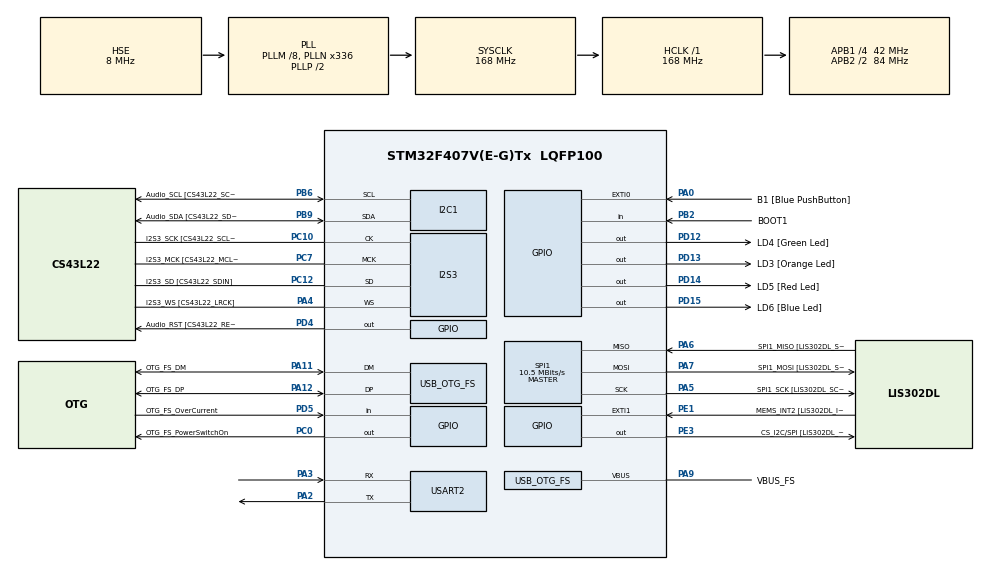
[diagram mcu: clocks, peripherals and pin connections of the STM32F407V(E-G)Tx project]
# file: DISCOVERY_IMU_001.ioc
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I2S3.AudioFreq-Half_Duplex_Master=I2S_AUDIOFREQ_96K
I2S3.ErrorAudioFreq=-2.34 %
I2S3.ErrorAudioFreq-Half_Duplex_Master=0.8 %
I2S3.FullDuplexMode=I2S_FULLDUPLEXMODE_DISABLE
I2S3.Instance=SPI$Index
I2S3.RealAudioFreq=93.75 KHz
I2S3.RealAudioFreq-Half_Duplex_Master=96.774 KHz
I2S3.VirtualMode=I2S_MODE_MASTER
Mcu.Family=STM32F4
Mcu.Name=STM32F407V(E-G)Tx
Mcu.Package=LQFP100
NVIC.OTG_FS_IRQn=true\:0\:0\:false\:false\:true\:true\:true\:true
NVIC.PriorityGroup=NVIC_PRIORITYGROUP_0
PA0-WKUP.GPIO_Label=B1 [Blue PushButton]
PA0-WKUP.GPIO_ModeDefaultEXTI=GPIO_MODE_EVT_RISING
PA0-WKUP.GPIO_PuPd=GPIO_NOPULL
PA0-WKUP.Signal=GPXTI0
PA10.GPIO_Label=OTG_FS_ID
PA10.GPIO_Mode=GPIO_MODE_AF_PP
PA10.GPIO_PuPd=GPIO_NOPULL
PA10.GPIO_Speed=GPIO_SPEED_FREQ_LOW
PA10.Signal=USB_OTG_FS_ID
PA11.GPIO_Label=OTG_FS_DM
PA11.GPIO_Mode=GPIO_MODE_AF_PP
PA11.GPIO_PuPd=GPIO_NOPULL
PA11.GPIO_Speed=GPIO_SPEED_FREQ_LOW
PA11.Mode=Device_Only
PA11.Signal=USB_OTG_FS_DM
PA12.GPIO_Label=OTG_FS_DP
PA12.GPIO_Mode=GPIO_MODE_AF_PP
PA12.GPIO_PuPd=GPIO_NOPULL
PA12.GPIO_Speed=GPIO_SPEED_FREQ_LOW
PA12.Mode=Device_Only
PA12.Signal=USB_OTG_FS_DP
PA13.GPIO_Label=SWDIO
PA13.Mode=Serial_Wire
PA13.Signal=SYS_JTMS-SWDIO
PA14.GPIO_Label=SWCLK
PA14.Mode=Serial_Wire
PA14.Signal=SYS_JTCK-SWCLK
PA2.Mode=Asynchronous
PA2.Signal=USART2_TX
PA3.Mode=Asynchronous
PA3.Signal=USART2_RX
PA4.GPIO_Label=I2S3_WS [CS43L22_LRCK]
PA4.GPIO_Mode=GPIO_MODE_AF_PP
PA4.GPIO_PuPd=GPIO_NOPULL
PA4.GPIO_Speed=GPIO_SPEED_FREQ_LOW
PA4.Mode=Half_Duplex_Master
PA4.Signal=I2S3_WS
PA5.GPIO_Label=SPI1_SCK [LIS302DL_SCL/SPC]
PA5.GPIO_Mode=GPIO_MODE_AF_PP
PA5.GPIO_PuPd=GPIO_NOPULL
PA5.GPIO_Speed=GPIO_SPEED_FREQ_LOW
PA5.Mode=Full_Duplex_Master
PA5.Signal=SPI1_SCK
PA6.GPIO_Label=SPI1_MISO [LIS302DL_SDO]
PA6.GPIO_Mode=GPIO_MODE_AF_PP
PA6.GPIO_PuPd=GPIO_NOPULL
PA6.GPIO_Speed=GPIO_SPEED_FREQ_LOW
PA6.Mode=Full_Duplex_Master
PA6.Signal=SPI1_MISO
PA7.GPIO_Label=SPI1_MOSI [LIS302DL_SDA/SDI/SDO]
PA7.GPIO_Mode=GPIO_MODE_AF_PP
PA7.GPIO_PuPd=GPIO_NOPULL
PA7.GPIO_Speed=GPIO_SPEED_FREQ_LOW
PA7.Mode=Full_Duplex_Master
PA7.Signal=SPI1_MOSI
PA9.GPIO_Label=VBUS_FS
PA9.GPIO_Mode=GPIO_MODE_INPUT
PA9.GPIO_PuPd=GPIO_NOPULL
PA9.Mode=Activate_VBUS
PA9.Signal=USB_OTG_FS_VBUS
PB10.GPIO_Label=CLK_IN [MP45DT02_CLK]
PB10.GPIO_Mode=GPIO_MODE_AF_PP
PB10.GPIO_PuPd=GPIO_NOPULL
PB10.GPIO_Speed=GPIO_SPEED_FREQ_LOW
PB10.Signal=I2S2_CK
PB2.GPIO_Label=BOOT1
PB2.GPIO_Mode=GPIO_MODE_INPUT
PB2.GPIO_PuPd=GPIO_NOPULL
PB2.Signal=GPIO_Input
PB3.GPIO_Label=SWO
PB3.Signal=SYS_JTDO-SWO
PB6.GPIO_Label=Audio_SCL [CS43L22_SCL]
PB6.GPIO_Mode=GPIO_MODE_AF_OD
PB6.GPIO_Pu=GPIO_PULLUP
PB6.GPIO_PuPd=GPIO_NOPULL
PB6.GPIO_Speed=GPIO_SPEED_FREQ_LOW
PB6.Mode=I2C
PB6.Signal=I2C1_SCL
PB9.GPIO_Label=Audio_SDA [CS43L22_SDA]
PB9.GPIO_Mode=GPIO_MODE_AF_OD
PB9.GPIO_Pu=GPIO_PULLUP
PB9.GPIO_PuPd=GPIO_NOPULL
PB9.GPIO_Speed=GPIO_SPEED_FREQ_LOW
PB9.Mode=I2C
PB9.Signal=I2C1_SDA
PC0.GPIO_Label=OTG_FS_PowerSwitchOn
PC0.GPIO_PuPd=GPIO_NOPULL
PC0.GPIO_Speed=GPIO_SPEED_FREQ_LOW
PC0.PinState=GPIO_PIN_SET
PC0.Signal=GPIO_Output
PC10.GPIO_Label=I2S3_SCK [CS43L22_SCLK]
PC10.GPIO_Mode=GPIO_MODE_AF_PP
PC10.GPIO_PuPd=GPIO_NOPULL
PC10.GPIO_Speed=GPIO_SPEED_FREQ_LOW
PC10.Mode=Half_Duplex_Master
PC10.Signal=I2S3_CK
PC12.GPIO_Label=I2S3_SD [CS43L22_SDIN]
PC12.GPIO_Mode=GPIO_MODE_AF_PP
PC12.GPIO_PuPd=GPIO_NOPULL
PC12.GPIO_Speed=GPIO_SPEED_FREQ_LOW
PC12.Mode=Half_Duplex_Master
PC12.Signal=I2S3_SD
PC14-OSC32_IN.GPIO_Label=PC14-OSC32_IN
PC14-OSC32_IN.Mode=LSE-External-Oscillator
PC14-OSC32_IN.Signal=RCC_OSC32_IN
PC15-OSC32_OUT.GPIO_Label=PC15-OSC32_OUT
PC15-OSC32_OUT.Mode=LSE-External-Oscillator
PC15-OSC32_OUT.Signal=RCC_OSC32_OUT
PC3.GPIO_Label=PDM_OUT [MP45DT02_DOUT]
PC3.GPIO_Mode=GPIO_MODE_AF_PP
PC3.GPIO_PuPd=GPIO_NOPULL
PC3.GPIO_Speed=GPIO_SPEED_FREQ_LOW
PC3.Signal=I2S2_SD
PC7.GPIO_Label=I2S3_MCK [CS43L22_MCLK]
PC7.GPIO_Mode=GPIO_MODE_AF_PP
PC7.GPIO_PuPd=GPIO_NOPULL
PC7.GPIO_Speed=GPIO_SPEED_FREQ_LOW
PC7.Mode=Master_Clock_Activated
PC7.Signal=I2S3_MCK
PD12.GPIO_Label=LD4 [Green Led]
PD12.GPIO_PuPd=GPIO_NOPULL
PD12.GPIO_Speed=GPIO_SPEED_FREQ_LOW
PD12.Signal=GPIO_Output
PD13.GPIO_Label=LD3 [Orange Led]
PD13.GPIO_PuPd=GPIO_NOPULL
PD13.GPIO_Speed=GPIO_SPEED_FREQ_LOW
PD13.Signal=GPIO_Output
PD14.GPIO_Label=LD5 [Red Led]
PD14.GPIO_PuPd=GPIO_NOPULL
PD14.GPIO_Speed=GPIO_SPEED_FREQ_LOW
PD14.Signal=GPIO_Output
PD15.GPIO_Label=LD6 [Blue Led]
PD15.GPIO_PuPd=GPIO_NOPULL
PD15.GPIO_Speed=GPIO_SPEED_FREQ_LOW
PD15.Signal=GPIO_Output
PD4.GPIO_Label=Audio_RST [CS43L22_RESET]
PD4.GPIO_PuPd=GPIO_NOPULL
PD4.GPIO_Speed=GPIO_SPEED_FREQ_LOW
PD4.Signal=GPIO_Output
PD5.GPIO_Label=OTG_FS_OverCurrent
PD5.GPIO_Mode=GPIO_MODE_INPUT
PD5.GPIO_PuPd=GPIO_NOPULL
PD5.Signal=GPIO_Input
PE1.GPIO_Label=MEMS_INT2 [LIS302DL_INT2]
PE1.GPIO_ModeDefaultEXTI=GPIO_MODE_EVT_RISING
PE1.GPIO_PuPd=GPIO_NOPULL
PE1.Signal=GPXTI1
PE3.GPIO_Label=CS_I2C/SPI [LIS302DL_CS_I2C/SPI]
PE3.GPIO_PuPd=GPIO_NOPULL
PE3.GPIO_Speed=GPIO_SPEED_FREQ_LOW
PE3.Signal=GPIO_Output
PH0-OSC_IN.GPIO_Label=PH0-OSC_IN
PH0-OSC_IN.Mode=HSE-External-Oscillator
PH0-OSC_IN.Signal=RCC_OSC_IN
PH1-OSC_OUT.GPIO_Label=PH1-OSC_OUT
PH1-OSC_OUT.Mode=HSE-External-Oscillator
PH1-OSC_OUT.Signal=RCC_OSC_OUT
ProjectManager.HeapSize=0x200
ProjectManager.StackSize=0x400
ProjectManager.TargetToolchain=STM32CubeIDE
RCC.48MHZClocksFreq_Value=48000000
RCC.AHBFreq_Value=168000000
RCC.APB1CLKDivider=RCC_HCLK_DIV4
RCC.APB1Freq_Value=42000000
RCC.APB1TimFreq_Value=84000000
RCC.APB2CLKDivider=RCC_HCLK_DIV2
RCC.APB2Freq_Value=84000000
RCC.APB2TimFreq_Value=168000000
RCC.CortexFreq_Value=168000000
RCC.HCLKFreq_Value=168000000
RCC.HSE_VALUE=8000000
RCC.HSI_VALUE=16000000
RCC.PLLM=8
RCC.PLLN=336
RCC.PLLQ=7
RCC.SYSCLKFreq_VALUE=168000000
RCC.SYSCLKSource=RCC_SYSCLKSOURCE_PLLCLK
RCC.VCOOutputFreq_Value=336000000
SPI1.BaudRatePrescaler=SPI_BAUDRATEPRESCALER_8
SPI1.BaudRatePrescaler-Full_Duplex_Master=SPI_BAUDRATEPRESCALER_2
SPI1.CalculateBaudRate=10.5 MBits/s
SPI1.CalculateBaudRate-Full_Duplex_Master=42.0 MBits/s
SPI1.Direction=SPI_DIRECTION_2LINES
SPI1.Mode=SPI_MODE_MASTER
SPI1.Mode-Full_Duplex_Master=SPI_MODE_MASTER
SPI1.VirtualType=VM_MASTER
USART2.VirtualMode=VM_ASYNC
USB_DEVICE.CLASS_NAME_FS=CDC
USB_DEVICE.VirtualMode-CDC_FS=Cdc
USB_DEVICE.VirtualModeFS=Cdc_FS
USB_OTG_FS.VirtualMode=Device_Only
VP_USB_DEVICE_VS_USB_DEVICE_CDC_FS.Mode=CDC_FS
board=STM32F407G-DISC1

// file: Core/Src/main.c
/* USER CODE BEGIN Header */
/**
  ******************************************************************************
  * @file           : main.c
  * @brief          : Main program body
  ******************************************************************************
  * @attention
  *
  * Copyright (c) 2023 STMicroelectronics.
  * All rights reserved.
  *
  * This software is licensed under terms that can be found in the LICENSE file
  * in the root directory of this software component.
  * If no LICENSE file comes with this software, it is provided AS-IS.
  *
  ******************************************************************************
  */
/* USER CODE END Header */
#include "main.h"
#include "usb_device.h"

/* USER CODE BEGIN PTD */
  uint8_t u8X, u8Y, u8Z;
  float pitch, roll;
/* USER CODE END PTD */

I2C_HandleTypeDef hi2c1;

I2S_HandleTypeDef hi2s3;

SPI_HandleTypeDef hspi1;

UART_HandleTypeDef huart2;

void SystemClock_Config(void);
static void MX_GPIO_Init(void);
static void MX_I2C1_Init(void);
static void MX_I2S3_Init(void);
static void MX_SPI1_Init(void);
static void MX_USART2_UART_Init(void);
/* USER CODE BEGIN PFP */
void ambulance (void);
/* USER CODE END PFP */

int main(void)
{

  /* MCU Configuration--------------------------------------------------------*/

  /* Reset of all peripherals, Initializes the Flash interface and the Systick. */
  HAL_Init();

  /* Configure the system clock */
  SystemClock_Config();

  /* Initialize all configured peripherals */
  MX_GPIO_Init();
  MX_I2C1_Init();
  MX_I2S3_Init();
  MX_SPI1_Init();
  MX_USART2_UART_Init();
  MX_USB_DEVICE_Init();
  /* USER CODE BEGIN 2 */

  lis302dl_init(&hspi1);

  /* USER CODE END 2 */

  /* Infinite loop */
  while (1)
  {

    /* USER CODE BEGIN 3 */
	    read_lis302(&hspi1, &u8X, &u8Y, &u8Z);
	    //compute_orientation(u8X, u8Y, u8Z, &pitch, &roll);
	    transmit_data(u8X, u8Y, u8Z, pitch, roll);
	    HAL_Delay(100);
  }
  /* USER CODE END 3 */
}

void SystemClock_Config(void)
{
  RCC_OscInitTypeDef RCC_OscInitStruct = {0};
  RCC_ClkInitTypeDef RCC_ClkInitStruct = {0};

  /** Configure the main internal regulator output voltage
  */
  __HAL_RCC_PWR_CLK_ENABLE();
  __HAL_PWR_VOLTAGESCALING_CONFIG(PWR_REGULATOR_VOLTAGE_SCALE1);

  /** Initializes the RCC Oscillators according to the specified parameters
  * in the RCC_OscInitTypeDef structure.
  */
  RCC_OscInitStruct.OscillatorType = RCC_OSCILLATORTYPE_HSE;
  RCC_OscInitStruct.HSEState = RCC_HSE_ON;
  RCC_OscInitStruct.PLL.PLLState = RCC_PLL_ON;
  RCC_OscInitStruct.PLL.PLLSource = RCC_PLLSOURCE_HSE;
  RCC_OscInitStruct.PLL.PLLM = 8;
  RCC_OscInitStruct.PLL.PLLN = 336;
  RCC_OscInitStruct.PLL.PLLP = RCC_PLLP_DIV2;
  RCC_OscInitStruct.PLL.PLLQ = 7;
  if (HAL_RCC_OscConfig(&RCC_OscInitStruct) != HAL_OK)
  {
    Error_Handler();
  }

  /** Initializes the CPU, AHB and APB buses clocks
  */
  RCC_ClkInitStruct.ClockType = RCC_CLOCKTYPE_HCLK|RCC_CLOCKTYPE_SYSCLK
                              |RCC_CLOCKTYPE_PCLK1|RCC_CLOCKTYPE_PCLK2;
  RCC_ClkInitStruct.SYSCLKSource = RCC_SYSCLKSOURCE_PLLCLK;
  RCC_ClkInitStruct.AHBCLKDivider = RCC_SYSCLK_DIV1;
  RCC_ClkInitStruct.APB1CLKDivider = RCC_HCLK_DIV4;
  RCC_ClkInitStruct.APB2CLKDivider = RCC_HCLK_DIV2;

  if (HAL_RCC_ClockConfig(&RCC_ClkInitStruct, FLASH_LATENCY_5) != HAL_OK)
  {
    Error_Handler();
  }
}

static void MX_I2C1_Init(void)
{

  hi2c1.Instance = I2C1;
  hi2c1.Init.ClockSpeed = 100000;
  hi2c1.Init.DutyCycle = I2C_DUTYCYCLE_2;
  hi2c1.Init.OwnAddress1 = 0;
  hi2c1.Init.AddressingMode = I2C_ADDRESSINGMODE_7BIT;
  hi2c1.Init.DualAddressMode = I2C_DUALADDRESS_DISABLE;
  hi2c1.Init.OwnAddress2 = 0;
  hi2c1.Init.GeneralCallMode = I2C_GENERALCALL_DISABLE;
  hi2c1.Init.NoStretchMode = I2C_NOSTRETCH_DISABLE;
  if (HAL_I2C_Init(&hi2c1) != HAL_OK)
  {
    Error_Handler();
  }

}

static void MX_I2S3_Init(void)
{

  hi2s3.Instance = SPI3;
  hi2s3.Init.Mode = I2S_MODE_MASTER_TX;
  hi2s3.Init.Standard = I2S_STANDARD_PHILIPS;
  hi2s3.Init.DataFormat = I2S_DATAFORMAT_16B;
  hi2s3.Init.MCLKOutput = I2S_MCLKOUTPUT_ENABLE;
  hi2s3.Init.AudioFreq = I2S_AUDIOFREQ_96K;
  hi2s3.Init.CPOL = I2S_CPOL_LOW;
  hi2s3.Init.ClockSource = I2S_CLOCK_PLL;
  hi2s3.Init.FullDuplexMode = I2S_FULLDUPLEXMODE_DISABLE;
  if (HAL_I2S_Init(&hi2s3) != HAL_OK)
  {
    Error_Handler();
  }

}

static void MX_SPI1_Init(void)
{

  /* SPI1 parameter configuration*/
  hspi1.Instance = SPI1;
  hspi1.Init.Mode = SPI_MODE_MASTER;
  hspi1.Init.Direction = SPI_DIRECTION_2LINES;
  hspi1.Init.DataSize = SPI_DATASIZE_8BIT;
  hspi1.Init.CLKPolarity = SPI_POLARITY_LOW;
  hspi1.Init.CLKPhase = SPI_PHASE_1EDGE;
  hspi1.Init.NSS = SPI_NSS_SOFT;
  hspi1.Init.BaudRatePrescaler = SPI_BAUDRATEPRESCALER_8;
  hspi1.Init.FirstBit = SPI_FIRSTBIT_MSB;
  hspi1.Init.TIMode = SPI_TIMODE_DISABLE;
  hspi1.Init.CRCCalculation = SPI_CRCCALCULATION_DISABLE;
  hspi1.Init.CRCPolynomial = 10;
  if (HAL_SPI_Init(&hspi1) != HAL_OK)
  {
    Error_Handler();
  }

}

static void MX_USART2_UART_Init(void)
{

  huart2.Instance = USART2;
  huart2.Init.BaudRate = 115200;
  huart2.Init.WordLength = UART_WORDLENGTH_8B;
  huart2.Init.StopBits = UART_STOPBITS_1;
  huart2.Init.Parity = UART_PARITY_NONE;
  huart2.Init.Mode = UART_MODE_TX_RX;
  huart2.Init.HwFlowCtl = UART_HWCONTROL_NONE;
  huart2.Init.OverSampling = UART_OVERSAMPLING_16;
  if (HAL_UART_Init(&huart2) != HAL_OK)
  {
    Error_Handler();
  }

}

static void MX_GPIO_Init(void)
{
  GPIO_InitTypeDef GPIO_InitStruct = {0};

  /* GPIO Ports Clock Enable */
  __HAL_RCC_GPIOE_CLK_ENABLE();
  __HAL_RCC_GPIOC_CLK_ENABLE();
  __HAL_RCC_GPIOH_CLK_ENABLE();
  __HAL_RCC_GPIOA_CLK_ENABLE();
  __HAL_RCC_GPIOB_CLK_ENABLE();
  __HAL_RCC_GPIOD_CLK_ENABLE();

  /*Configure GPIO pin Output Level */
  HAL_GPIO_WritePin(CS_I2C_SPI_GPIO_Port, CS_I2C_SPI_Pin, GPIO_PIN_RESET);

  /*Configure GPIO pin Output Level */
  HAL_GPIO_WritePin(OTG_FS_PowerSwitchOn_GPIO_Port, OTG_FS_PowerSwitchOn_Pin, GPIO_PIN_SET);

  /*Configure GPIO pin Output Level */
  HAL_GPIO_WritePin(GPIOD, LD4_Pin|LD3_Pin|LD5_Pin|LD6_Pin
                          |Audio_RST_Pin, GPIO_PIN_RESET);

  /*Configure GPIO pin : CS_I2C_SPI_Pin */
  GPIO_InitStruct.Pin = CS_I2C_SPI_Pin;
  GPIO_InitStruct.Mode = GPIO_MODE_OUTPUT_PP;
  GPIO_InitStruct.Pull = GPIO_NOPULL;
  GPIO_InitStruct.Speed = GPIO_SPEED_FREQ_LOW;
  HAL_GPIO_Init(CS_I2C_SPI_GPIO_Port, &GPIO_InitStruct);

  /*Configure GPIO pin : OTG_FS_PowerSwitchOn_Pin */
  GPIO_InitStruct.Pin = OTG_FS_PowerSwitchOn_Pin;
  GPIO_InitStruct.Mode = GPIO_MODE_OUTPUT_PP;
  GPIO_InitStruct.Pull = GPIO_NOPULL;
  GPIO_InitStruct.Speed = GPIO_SPEED_FREQ_LOW;
  HAL_GPIO_Init(OTG_FS_PowerSwitchOn_GPIO_Port, &GPIO_InitStruct);

  /*Configure GPIO pin : PDM_OUT_Pin */
  GPIO_InitStruct.Pin = PDM_OUT_Pin;
  GPIO_InitStruct.Mode = GPIO_MODE_AF_PP;
  GPIO_InitStruct.Pull = GPIO_NOPULL;
  GPIO_InitStruct.Speed = GPIO_SPEED_FREQ_LOW;
  GPIO_InitStruct.Alternate = GPIO_AF5_SPI2;
  HAL_GPIO_Init(PDM_OUT_GPIO_Port, &GPIO_InitStruct);

  /*Configure GPIO pin : B1_Pin */
  GPIO_InitStruct.Pin = B1_Pin;
  GPIO_InitStruct.Mode = GPIO_MODE_EVT_RISING;
  GPIO_InitStruct.Pull = GPIO_NOPULL;
  HAL_GPIO_Init(B1_GPIO_Port, &GPIO_InitStruct);

  /*Configure GPIO pin : BOOT1_Pin */
  GPIO_InitStruct.Pin = BOOT1_Pin;
  GPIO_InitStruct.Mode = GPIO_MODE_INPUT;
  GPIO_InitStruct.Pull = GPIO_NOPULL;
  HAL_GPIO_Init(BOOT1_GPIO_Port, &GPIO_InitStruct);

  /*Configure GPIO pin : CLK_IN_Pin */
  GPIO_InitStruct.Pin = CLK_IN_Pin;
  GPIO_InitStruct.Mode = GPIO_MODE_AF_PP;
  GPIO_InitStruct.Pull = GPIO_NOPULL;
  GPIO_InitStruct.Speed = GPIO_SPEED_FREQ_LOW;
  GPIO_InitStruct.Alternate = GPIO_AF5_SPI2;
  HAL_GPIO_Init(CLK_IN_GPIO_Port, &GPIO_InitStruct);

  /*Configure GPIO pins : LD4_Pin LD3_Pin LD5_Pin LD6_Pin
                           Audio_RST_Pin */
  GPIO_InitStruct.Pin = LD4_Pin|LD3_Pin|LD5_Pin|LD6_Pin
                          |Audio_RST_Pin;
  GPIO_InitStruct.Mode = GPIO_MODE_OUTPUT_PP;
  GPIO_InitStruct.Pull = GPIO_NOPULL;
  GPIO_InitStruct.Speed = GPIO_SPEED_FREQ_LOW;
  HAL_GPIO_Init(GPIOD, &GPIO_InitStruct);

  /*Configure GPIO pin : OTG_FS_OverCurrent_Pin */
  GPIO_InitStruct.Pin = OTG_FS_OverCurrent_Pin;
  GPIO_InitStruct.Mode = GPIO_MODE_INPUT;
  GPIO_InitStruct.Pull = GPIO_NOPULL;
  HAL_GPIO_Init(OTG_FS_OverCurrent_GPIO_Port, &GPIO_InitStruct);

  /*Configure GPIO pin : MEMS_INT2_Pin */
  GPIO_InitStruct.Pin = MEMS_INT2_Pin;
  GPIO_InitStruct.Mode = GPIO_MODE_EVT_RISING;
  GPIO_InitStruct.Pull = GPIO_NOPULL;
  HAL_GPIO_Init(MEMS_INT2_GPIO_Port, &GPIO_InitStruct);

}

/* USER CODE BEGIN 4 */

void ambulance (void) {
	HAL_GPIO_WritePin(GPIOD, GPIO_PIN_12, GPIO_PIN_SET);
	HAL_Delay(150);
	HAL_GPIO_WritePin(GPIOD, GPIO_PIN_12, GPIO_PIN_RESET);
	HAL_Delay(150);
	HAL_GPIO_WritePin(GPIOD, GPIO_PIN_13, GPIO_PIN_SET);
	HAL_Delay(150);
	HAL_GPIO_WritePin(GPIOD, GPIO_PIN_13, GPIO_PIN_RESET);
	HAL_Delay(150);
	HAL_GPIO_WritePin(GPIOD, GPIO_PIN_14, GPIO_PIN_SET);
	HAL_Delay(150);
	HAL_GPIO_WritePin(GPIOD, GPIO_PIN_14, GPIO_PIN_RESET);
	HAL_Delay(150);
	HAL_GPIO_WritePin(GPIOD, GPIO_PIN_15, GPIO_PIN_SET);
	HAL_Delay(150);
	HAL_GPIO_WritePin(GPIOD, GPIO_PIN_15, GPIO_PIN_RESET);
	HAL_Delay(150);
}
/* USER CODE END 4 */

void Error_Handler(void)
{
  __disable_irq();
  while (1)
  {
  }
}
